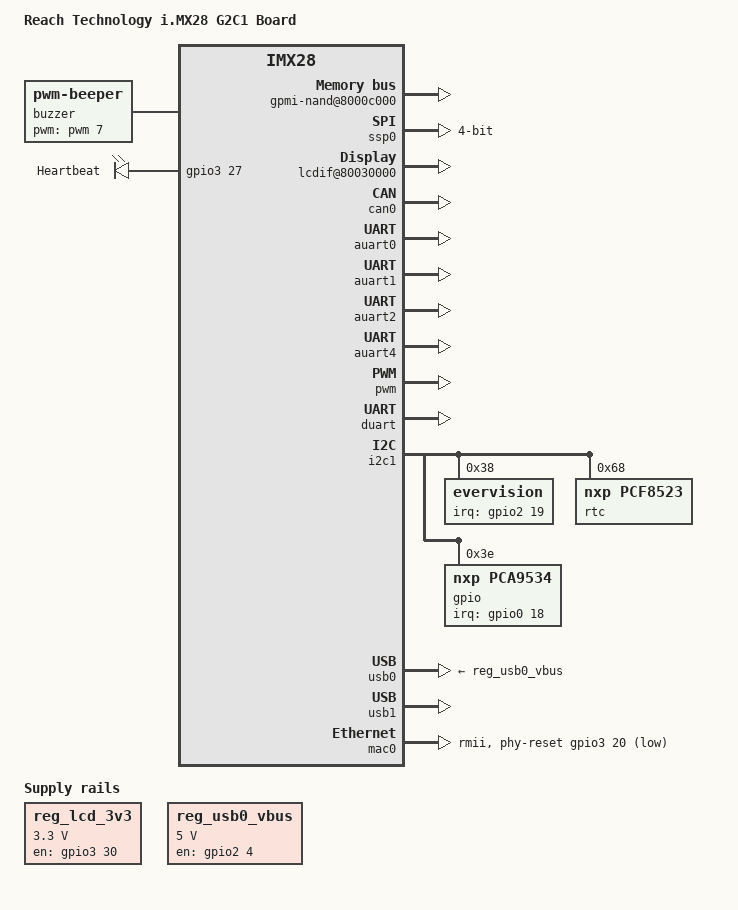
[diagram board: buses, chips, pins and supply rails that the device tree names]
/*
 * Copyright 2015, 2015 O.S. Systems Software LTDA.
 *
 * This file is dual-licensed: you can use it either under the terms
 * of the GPL or the X11 license, at your option. Note that this dual
 * licensing only applies to this file, and not this project as a
 * whole.
 *
 *  a) This file is free software; you can redistribute it and/or
 *     modify it under the terms of the GNU General Public License as
 *     published by the Free Software Foundation; either version 2 of
 *     the License, or (at your option) any later version.
 *
 *     This file is distributed in the hope that it will be useful,
 *     but WITHOUT ANY WARRANTY; without even the implied warranty of
 *     MERCHANTABILITY or FITNESS FOR A PARTICULAR PURPOSE.  See the
 *     GNU General Public License for more details.
 *
 * Or, alternatively,
 *
 *  b) Permission is hereby granted, free of charge, to any person
 *     obtaining a copy of this software and associated documentation
 *     files (the "Software"), to deal in the Software without
 *     restriction, including without limitation the rights to use,
 *     copy, modify, merge, publish, distribute, sublicense, and/or
 *     sell copies of the Software, and to permit persons to whom the
 *     Software is furnished to do so, subject to the following
 *     conditions:
 *
 *     The above copyright notice and this permission notice shall be
 *     included in all copies or substantial portions of the Software.
 *
 *     THE SOFTWARE IS PROVIDED "AS IS", WITHOUT WARRANTY OF ANY KIND,
 *     EXPRESS OR IMPLIED, INCLUDING BUT NOT LIMITED TO THE WARRANTIES
 *     OF MERCHANTABILITY, FITNESS FOR A PARTICULAR PURPOSE AND
 *     NONINFRINGEMENT. IN NO EVENT SHALL THE AUTHORS OR COPYRIGHT
 *     HOLDERS BE LIABLE FOR ANY CLAIM, DAMAGES OR OTHER LIABILITY,
 *     WHETHER IN AN ACTION OF CONTRACT, TORT OR OTHERWISE, ARISING
 *     FROM, OUT OF OR IN CONNECTION WITH THE SOFTWARE OR THE USE OR
 *     OTHER DEALINGS IN THE SOFTWARE.
 */

/dts-v1/;
#include "imx28.dtsi"

/ {
	model = "Reach Technology i.MX28 G2C1 Board";
	compatible = "reach,imx28-g2c1", "fsl,imx28";

	apb@80000000 {
		apbh@80000000 {
			gpmi-nand@8000c000 {
				pinctrl-names = "default";
				pinctrl-0 = <&gpmi_pins_a &gpmi_status_cfg
					     &gpmi_pins>;
				status = "okay";
			};

			ssp0: ssp@80010000 {
				compatible = "fsl,imx28-mmc";
				pinctrl-names = "default";
				pinctrl-0 = <&mmc0_4bit_pins_a>;
				bus-width = <4>;
				status = "okay";
			};

			pinctrl@80018000 {
				gpmi_pins: gpmi-nand@0 {
					reg = <0>;
					fsl,pinmux-ids = <
						MX28_PAD_GPMI_CE1N__GPMI_CE1N
						MX28_PAD_GPMI_RDY1__GPMI_READY1
					>;
					fsl,drive-strength = <MXS_DRIVE_4mA>;
					fsl,voltage = <MXS_VOLTAGE_HIGH>;
					fsl,pull-up = <MXS_PULL_DISABLE>;
				};

				i2c_irq: i2c_irq@0 {
					reg = <0>;
					fsl,pinmux-ids = <
						MX28_PAD_SSP2_SS0__GPIO_2_19
					>;
					fsl,drive-strength = <MXS_DRIVE_4mA>;
					fsl,voltage = <MXS_VOLTAGE_HIGH>;
					fsl,pull-up = <MXS_PULL_DISABLE>;
				};

				phy_reset: phy_reset@0 {
					reg = <0>;
					fsl,pinmux-ids = <
						MX28_PAD_SAIF0_MCLK__GPIO_3_20
					>;
					fsl,drive-strength = <MXS_DRIVE_4mA>;
					fsl,voltage = <MXS_VOLTAGE_HIGH>;
					fsl,pull-up = <MXS_PULL_DISABLE>;
				};

				lcdif_pins_evk: lcdif-evk@0 {
					reg = <0>;
					fsl,pinmux-ids = <
						MX28_PAD_LCD_RD_E__LCD_VSYNC
						MX28_PAD_LCD_WR_RWN__LCD_HSYNC
						MX28_PAD_LCD_RS__LCD_DOTCLK
						MX28_PAD_LCD_CS__LCD_ENABLE
					>;
					fsl,drive-strength = <MXS_DRIVE_4mA>;
					fsl,voltage = <MXS_VOLTAGE_HIGH>;
					fsl,pull-up = <MXS_PULL_DISABLE>;
				};

				led_pin: led_gpio@0 {
					reg = <0>;
					fsl,pinmux-ids = <
						MX28_PAD_SPDIF__GPIO_3_27
					>;
					fsl,drive-strength = <MXS_DRIVE_4mA>;
					fsl,voltage = <MXS_VOLTAGE_HIGH>;
					fsl,pull-up = <MXS_PULL_DISABLE>;
				};

				pca9534: pca9534@0 {
					reg = <0>;
					fsl,pinmux-ids = <
						MX28_PAD_GPMI_CE2N__GPIO_0_18
					>;
					fsl,drive-strength = <MXS_DRIVE_4mA>;
					fsl,voltage = <MXS_VOLTAGE_HIGH>;
					fsl,pull-up = <MXS_PULL_DISABLE>;
				};

				usb0_pwr: usb0_pwr@0 {
					reg = <0>;
					fsl,pinmux-ids = <
						MX28_PAD_SSP0_DATA4__GPIO_2_4
					>;
					fsl,drive-strength = <MXS_DRIVE_4mA>;
					fsl,voltage = <MXS_VOLTAGE_HIGH>;
					fsl,pull-up = <MXS_PULL_DISABLE>;
				};
			};

			lcdif@80030000 {
				pinctrl-names = "default";
				pinctrl-0 = <&lcdif_24bit_pins_a
					     &lcdif_pins_evk>;
				lcd-supply = <&reg_lcd_3v3>;
				display = <&display0>;
				status = "okay";

				display0: display0 {
					bits-per-pixel = <32>;
					bus-width = <24>;

					display-timings {
						native-mode = <&timing0>;
						timing0: timing0 {
							clock-frequency = <9000000>;
							hactive = <480>;
							vactive = <272>;
							hback-porch = <2>;
							hfront-porch = <41>;
							vback-porch = <2>;
							vfront-porch = <11>;
							hsync-len = <2>;
							vsync-len = <2>;
							hsync-active = <0>;
							vsync-active = <0>;
							de-active = <1>;
							pixelclk-active = <0>;
						};
					};
				};
			};

			can0: can@80032000 {
				pinctrl-names = "default";
				pinctrl-0 = <&can0_pins_a>;
				status = "okay";
			};
		};

		apbx@80040000 {
			auart0: serial@8006a000 {
				pinctrl-names = "default";
				pinctrl-0 = <&auart0_2pins_a>;
				status = "okay";
			};

			auart1: serial@8006c000 {
				pinctrl-names = "default";
				pinctrl-0 = <&auart1_2pins_a>;
				status = "okay";
			};

			auart2: serial@8006e000 {
				pinctrl-names = "default";
				pinctrl-0 = <&auart2_2pins_b>;
				status = "okay";
			};

			auart4: serial@80072000 {
				pinctrl-names = "default";
				pinctrl-0 = <&auart4_2pins_b>;
				status = "okay";
			};

			pwm: pwm@80064000 {
				pinctrl-names = "default";
				pinctrl-0 = <&pwm7_pins_a>;
				status = "okay";
			};

			duart: serial@80074000 {
				pinctrl-names = "default";
				pinctrl-0 = <&duart_pins_c>;
				status = "okay";
			};

			usbphy0: usbphy@8007c000 {
				status = "okay";
			};

			usbphy1: usbphy@8007e000 {
				status = "okay";
			};

			i2c1: i2c@8005a000 {
				pinctrl-names = "default";
				pinctrl-0 = <&i2c1_pins_a &i2c_irq>;
				status = "okay";

				evervision: touch@38 {
					compatible = "evervision";
					reg = <0x38>;
					interrupt-parent = <&gpio2>;
					interrupts = <19 0>;
					status = "okay";
				};

				rtc: pcf8523@68 {
					compatible = "nxp,pcf8523";
					reg = <0x68>;
				};

				gpio: pca9534@3e {
					compatible = "nxp,pca9534";
					reg = <0x3e>;
					pinctrl-0 = <&pca9534>;
					interrupt-parent = <&gpio0>;
					interrupts = <18 IRQ_TYPE_LEVEL_LOW>;
				};
			};

			mxs_rtc: rtc@80056000 {
				status = "disabled";
			};
		};
	};

	ahb@80080000 {
		usb0: usb@80080000 {
			pinctrl-names = "default";
			pinctrl-0 = <&usb0_id_pins_b &usb0_pwr>;
			vbus-supply = <&reg_usb0_vbus>;
			status = "okay";
		};

		usb1: usb@80090000 {
			status = "okay";
		};

		mac0: ethernet@800f0000 {
			phy-mode = "rmii";
			pinctrl-names = "default";
			pinctrl-0 = <&mac0_pins_a &phy_reset>;
			phy-reset-gpios = <&gpio3 20 0>;
			phy-reset-duration = <50>;
			status = "okay";
		};
	};

	buzzer {
		compatible = "pwm-beeper";
		pwms = <&pwm 7 1000000 0>;
	};

	leds {
		compatible = "gpio-leds";
		pinctrl-names = "default";
		pinctrl-0 = <&led_pin>;

		user {
			label = "Heartbeat";
			gpios = <&gpio3 27 0>;
			linux,default-trigger = "heartbeat";
		};
	};

	regulators {
		compatible = "simple-bus";
		#address-cells = <1>;
		#size-cells = <0>;

		reg_lcd_3v3: regulator@0 {
			compatible = "regulator-fixed";
			reg = <0>;
			regulator-name = "lcd-3v3";
			regulator-min-microvolt = <3300000>;
			regulator-max-microvolt = <3300000>;
			gpio = <&gpio3 30 0>;
			enable-active-high;
		};

		reg_usb0_vbus: regulator@1 {
			compatible = "regulator-fixed";
			reg = <1>;
			regulator-name = "usb0_vbus";
			regulator-min-microvolt = <5000000>;
			regulator-max-microvolt = <5000000>;
			gpio = <&gpio2 4 0>;
			enable-active-high;
		};
	};
};
